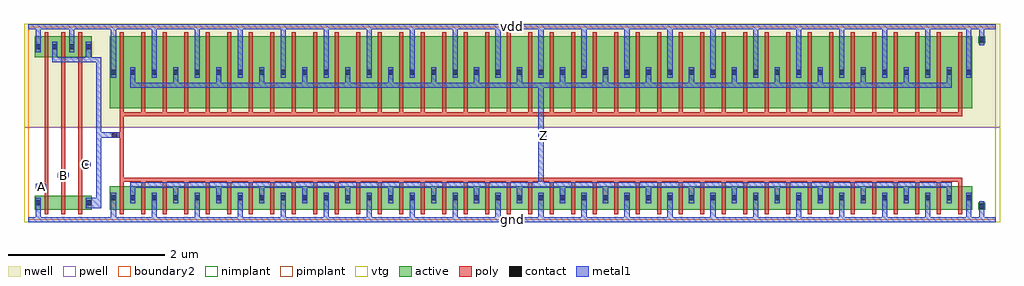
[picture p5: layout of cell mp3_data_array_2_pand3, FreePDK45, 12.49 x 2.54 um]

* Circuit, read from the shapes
.subckt mp3_data_array_2_pand3 A B C Z gnd vdd
M1 mp3_data_array_2_pnand3_0_0/mp3_data_array_2_nmos_m1_w0_180_sm1_dactive_3/D A gnd gnd nfet w=0.18u l=0.05u
M2 mp3_data_array_2_pnand3_0_0/mp3_data_array_2_nmos_m1_w0_180_sactive_dactive_4/D B mp3_data_array_2_pnand3_0_0/mp3_data_array_2_nmos_m1_w0_180_sm1_dactive_3/D gnd nfet w=0.18u l=0.05u
M3 mp3_data_array_2_pdriver_3_1/A C mp3_data_array_2_pnand3_0_0/mp3_data_array_2_nmos_m1_w0_180_sactive_dactive_4/D gnd nfet w=0.18u l=0.05u
M4 Z mp3_data_array_2_pdriver_3_1/A gnd gnd nfet w=0.305u l=0.05u m=40
M5 mp3_data_array_2_pdriver_3_1/A A vdd vdd pfet w=0.27u l=0.05u
M6 vdd B mp3_data_array_2_pdriver_3_1/A vdd pfet w=0.27u l=0.05u
M7 mp3_data_array_2_pdriver_3_1/A C vdd vdd pfet w=0.27u l=0.05u
M8 Z mp3_data_array_2_pdriver_3_1/A vdd vdd pfet w=0.9175u l=0.05u m=40
.ends

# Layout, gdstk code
import gdstk
lib = gdstk.Library(unit=1e-6, precision=5e-10)
def R(c, l, rs):  # rectangles x0, y0, x1, y1
    for r in rs: c.add(gdstk.rectangle(r[:2], r[2:], *l))
def A(c, l, x, y, w, h, nx, ny, dx, dy):  # array of equal rectangles
    R(c, l, [(x+i*dx, y+j*dy, x+i*dx+w, y+j*dy+h) for i in range(nx) for j in range(ny)])
active = (1, 0)
pwell = (2, 0)
nwell = (3, 0)
nimplant = (4, 0)
pimplant = (5, 0)
vtg = (6, 0)
poly = (9, 0)
contact = (10, 0)
metal1 = (11, 0)
boundary2 = (239, 0)

mp3_data_array_2_contact = lib.new_cell('mp3_data_array_2_contact_11')
R(mp3_data_array_2_contact, active, [(0,0.0225,0.09,0.1125)])
R(mp3_data_array_2_contact, nwell, [(-0.055,-0.0325,0.145,0.1675)])
R(mp3_data_array_2_contact, pimplant, [(0,0.0225,0.09,0.1125)])
R(mp3_data_array_2_contact, contact, [(0.0125,0.035,0.0775,0.1)])
R(mp3_data_array_2_contact, metal1, [(0.0125,0,0.0775,0.135)])
R(mp3_data_array_2_contact, boundary2, [(-0.055,-0.0325,0.145,0.1675)])

mp3_data_array_2_pmos_m1 = lib.new_cell('mp3_data_array_2_pmos_m1_w0_270_sm1_dm1')
R(mp3_data_array_2_pmos_m1, active, [(0,0,0.305,0.27)])
R(mp3_data_array_2_pmos_m1, nwell, [(-0.08,-0.08,0.385,0.35)])
R(mp3_data_array_2_pmos_m1, pimplant, [(0,0,0.305,0.27)])
R(mp3_data_array_2_pmos_m1, vtg, [(-0.08,-0.08,0.385,0.35)])
R(mp3_data_array_2_pmos_m1, poly, [(0.1275,-0.055,0.1775,0.325), (0.1275,-0.055,0.1775,0.325)])
R(mp3_data_array_2_pmos_m1, metal1, [(0.0125,0.0675,0.0775,0.2025), (0.2275,0.0675,0.2925,0.2025)])
R(mp3_data_array_2_pmos_m1, boundary2, [(-0.08,-0.08,0.385,0.35)])
mp3_data_array_2_pmos_m1.add(gdstk.Reference(mp3_data_array_2_contact, (0,0.0675)))
mp3_data_array_2_pmos_m1.add(gdstk.Reference(mp3_data_array_2_contact, (0.215,0.0675)))
mp3_data_array_2_pmos_m1.add(gdstk.Label('G', (0.1525,0.135), layer=9, texttype=0))
mp3_data_array_2_pmos_m1.add(gdstk.Label('S', (0.045,0.135), layer=11, texttype=0))
mp3_data_array_2_pmos_m1.add(gdstk.Label('D', (0.26,0.135), layer=11, texttype=0))

c_mp3_data_array_2_contact = lib.new_cell('mp3_data_array_2_contact_10')
R(c_mp3_data_array_2_contact, active, [(0,0.0225,0.09,0.1125)])
R(c_mp3_data_array_2_contact, pwell, [(-0.055,-0.0325,0.145,0.1675)])
R(c_mp3_data_array_2_contact, nimplant, [(0,0.0225,0.09,0.1125)])
R(c_mp3_data_array_2_contact, contact, [(0.0125,0.035,0.0775,0.1)])
R(c_mp3_data_array_2_contact, metal1, [(0.0125,0,0.0775,0.135)])
R(c_mp3_data_array_2_contact, boundary2, [(-0.055,-0.0325,0.145,0.1675)])

mp3_data_array_2_nmos_m1 = lib.new_cell('mp3_data_array_2_nmos_m1_w0_180_sm1_dactive')
R(mp3_data_array_2_nmos_m1, active, [(0,0,0.305,0.18), (0.215,0.045,0.305,0.135)])
R(mp3_data_array_2_nmos_m1, pwell, [(-0.08,-0.08,0.385,0.26)])
R(mp3_data_array_2_nmos_m1, nimplant, [(0,0,0.305,0.18)])
R(mp3_data_array_2_nmos_m1, vtg, [(-0.08,-0.08,0.385,0.26)])
R(mp3_data_array_2_nmos_m1, poly, [(0.1275,-0.055,0.1775,0.235), (0.1275,-0.055,0.1775,0.235)])
R(mp3_data_array_2_nmos_m1, metal1, [(0.0125,0.0225,0.0775,0.1575)])
R(mp3_data_array_2_nmos_m1, boundary2, [(-0.08,-0.08,0.385,0.26)])
mp3_data_array_2_nmos_m1.add(gdstk.Reference(c_mp3_data_array_2_contact, (0,0.0225)))
mp3_data_array_2_nmos_m1.add(gdstk.Label('G', (0.1525,0.09), layer=9, texttype=0))
mp3_data_array_2_nmos_m1.add(gdstk.Label('S', (0.045,0.09), layer=11, texttype=0))
mp3_data_array_2_nmos_m1.add(gdstk.Label('D', (0.26,0.09), layer=1, texttype=0))

c_mp3_data_array_2_nmos_m1 = lib.new_cell('mp3_data_array_2_nmos_m1_w0_180_sactive_dactive')
R(c_mp3_data_array_2_nmos_m1, active, [(0,0,0.305,0.18), (0,0.045,0.09,0.135), (0.215,0.045,0.305,0.135)])
R(c_mp3_data_array_2_nmos_m1, pwell, [(-0.08,-0.08,0.385,0.26)])
R(c_mp3_data_array_2_nmos_m1, nimplant, [(0,0,0.305,0.18)])
R(c_mp3_data_array_2_nmos_m1, vtg, [(-0.08,-0.08,0.385,0.26)])
R(c_mp3_data_array_2_nmos_m1, poly, [(0.1275,-0.055,0.1775,0.235), (0.1275,-0.055,0.1775,0.235)])
R(c_mp3_data_array_2_nmos_m1, boundary2, [(-0.08,-0.08,0.385,0.26)])
c_mp3_data_array_2_nmos_m1.add(gdstk.Label('G', (0.1525,0.09), layer=9, texttype=0))
c_mp3_data_array_2_nmos_m1.add(gdstk.Label('S', (0.045,0.09), layer=1, texttype=0))
c_mp3_data_array_2_nmos_m1.add(gdstk.Label('D', (0.26,0.09), layer=1, texttype=0))

c_mp3_data_array_2_nmos_m1_ = lib.new_cell('mp3_data_array_2_nmos_m1_w0_180_sactive_dm1')
R(c_mp3_data_array_2_nmos_m1_, active, [(0,0,0.305,0.18), (0,0.045,0.09,0.135)])
R(c_mp3_data_array_2_nmos_m1_, pwell, [(-0.08,-0.08,0.385,0.26)])
R(c_mp3_data_array_2_nmos_m1_, nimplant, [(0,0,0.305,0.18)])
R(c_mp3_data_array_2_nmos_m1_, vtg, [(-0.08,-0.08,0.385,0.26)])
R(c_mp3_data_array_2_nmos_m1_, poly, [(0.1275,-0.055,0.1775,0.235), (0.1275,-0.055,0.1775,0.235)])
R(c_mp3_data_array_2_nmos_m1_, metal1, [(0.2275,0.0225,0.2925,0.1575)])
R(c_mp3_data_array_2_nmos_m1_, boundary2, [(-0.08,-0.08,0.385,0.26)])
c_mp3_data_array_2_nmos_m1_.add(gdstk.Reference(c_mp3_data_array_2_contact, (0.215,0.0225)))
c_mp3_data_array_2_nmos_m1_.add(gdstk.Label('G', (0.1525,0.09), layer=9, texttype=0))
c_mp3_data_array_2_nmos_m1_.add(gdstk.Label('S', (0.045,0.09), layer=1, texttype=0))
c_mp3_data_array_2_nmos_m1_.add(gdstk.Label('D', (0.26,0.09), layer=11, texttype=0))

c_mp3_data_array_2_contact_ = lib.new_cell('mp3_data_array_2_contact_14')
R(c_mp3_data_array_2_contact_, poly, [(0.03,0,0.105,0.075)])
R(c_mp3_data_array_2_contact_, contact, [(0.035,0.005,0.1,0.07)])
R(c_mp3_data_array_2_contact_, metal1, [(0,0.005,0.135,0.07)])
R(c_mp3_data_array_2_contact_, boundary2, [(0,0,0.135,0.075)])

mp3_data_array_2_pnand3_ = lib.new_cell('mp3_data_array_2_pnand3_0')
R(mp3_data_array_2_pnand3_, pwell, [(-0.055,-0.0325,1.02,1.185)])
R(mp3_data_array_2_pnand3_, nwell, [(-0.055,1.185,1.02,2.505)])
R(mp3_data_array_2_pnand3_, vtg, [(-0.055,-0.0325,1.02,1.185), (-0.055,1.185,1.02,2.505)])
A(mp3_data_array_2_pnand3_, poly, 0.2075, 0.36, 0.05, 1.66, 3, 1, 0.215, 0)
R(mp3_data_array_2_pnand3_, poly, [(0.165,0.39,0.2075,0.465), (0.4225,0.53,0.4475,0.605), (0.6375,0.67,0.73,0.745)])
R(mp3_data_array_2_pnand3_, metal1, [(0,-0.0325,0.965,0.0325), (0.0925,-0.0325,0.1575,0.1475), (0.77,0.1475,0.9,0.2825), (0.8675,0.1475,0.9325,2.045), (0.0975,0.395,0.2325,0.46), (0.38,0.535,0.515,0.6), (0.6625,0.675,0.7975,0.74), (0.3075,2.0125,0.3725,2.0775), (0.34,2.0125,0.9,2.0775), (0.7375,2.0125,0.8025,2.0775), (0.77,2.0125,0.9,2.0775), (0.8675,2.0125,0.9325,2.0775), (0.3075,2.045,0.3725,2.21), (0.7375,2.045,0.8025,2.21), (0.0925,2.1425,0.1575,2.5025), (0.5225,2.1425,0.5875,2.5025), (0,2.4375,0.965,2.5025)])
R(mp3_data_array_2_pnand3_, boundary2, [(0,0,0.965,2.47), (0,0,0.965,2.47)])
mp3_data_array_2_pnand3_.add(gdstk.Reference(mp3_data_array_2_pmos_m1, (0.08,2.075)))
mp3_data_array_2_pnand3_.add(gdstk.Reference(mp3_data_array_2_pmos_m1, (0.295,2.075)))
mp3_data_array_2_pnand3_.add(gdstk.Reference(mp3_data_array_2_pmos_m1, (0.51,2.075)))
mp3_data_array_2_pnand3_.add(gdstk.Reference(mp3_data_array_2_nmos_m1, (0.08,0.125)))
mp3_data_array_2_pnand3_.add(gdstk.Reference(c_mp3_data_array_2_nmos_m1, (0.295,0.125)))
mp3_data_array_2_pnand3_.add(gdstk.Reference(c_mp3_data_array_2_nmos_m1_, (0.51,0.125)))
mp3_data_array_2_pnand3_.add(gdstk.Reference(c_mp3_data_array_2_contact_, (0.0975,0.39)))
mp3_data_array_2_pnand3_.add(gdstk.Reference(c_mp3_data_array_2_contact_, (0.38,0.53)))
mp3_data_array_2_pnand3_.add(gdstk.Reference(c_mp3_data_array_2_contact_, (0.6625,0.67)))
mp3_data_array_2_pnand3_.add(gdstk.Label('A', (0.165,0.4275), layer=11, texttype=0))
mp3_data_array_2_pnand3_.add(gdstk.Label('B', (0.4475,0.5675), layer=11, texttype=0))
mp3_data_array_2_pnand3_.add(gdstk.Label('C', (0.73,0.7075), layer=11, texttype=0))
mp3_data_array_2_pnand3_.add(gdstk.Label('Z', (0.9,2.045), layer=11, texttype=0))
mp3_data_array_2_pnand3_.add(gdstk.Label('gnd', (0.4825,0), layer=11, texttype=0))
mp3_data_array_2_pnand3_.add(gdstk.Label('vdd', (0.4825,2.47), layer=11, texttype=0))

mp3_data_array_2_pmos_m4 = lib.new_cell('mp3_data_array_2_pmos_m40_w0_917_sm1_dm1_da_p')
R(mp3_data_array_2_pmos_m4, active, [(0,0,11.03,0.9175)])
R(mp3_data_array_2_pmos_m4, nwell, [(-0.08,-0.08,11.11,0.9975)])
R(mp3_data_array_2_pmos_m4, pimplant, [(0,0,11.03,0.9175)])
R(mp3_data_array_2_pmos_m4, vtg, [(-0.08,-0.08,11.11,0.9975)])
A(mp3_data_array_2_pmos_m4, poly, 0.1275, -0.055, 0.05, 1.0275, 40, 1, 0.275, 0)
R(mp3_data_array_2_pmos_m4, poly, [(0.1275,-0.105,10.9025,-0.055)])
A(mp3_data_array_2_pmos_m4, metal1, 0.2575, 0.295, 0.065, 0.165, 20, 1, 0.55, 0)
A(mp3_data_array_2_pmos_m4, metal1, 0.5325, 0.39, 0.065, 0.135, 19, 1, 0.55, 0)
R(mp3_data_array_2_pmos_m4, metal1, [(0.2575,0.26,10.7725,0.325), (0.0125,0.39,0.0775,0.525), (10.9525,0.39,11.0175,0.525)])
R(mp3_data_array_2_pmos_m4, boundary2, [(-0.08,-0.105,11.11,0.9975)])
mp3_data_array_2_pmos_m4.add(gdstk.Reference(mp3_data_array_2_contact, (0,0.39)))
mp3_data_array_2_pmos_m4.add(gdstk.Reference(mp3_data_array_2_contact, (0.245,0.39)))
mp3_data_array_2_pmos_m4.add(gdstk.Reference(mp3_data_array_2_contact, (0.52,0.39)))
mp3_data_array_2_pmos_m4.add(gdstk.Reference(mp3_data_array_2_contact, (0.795,0.39)))
mp3_data_array_2_pmos_m4.add(gdstk.Reference(mp3_data_array_2_contact, (1.07,0.39)))
mp3_data_array_2_pmos_m4.add(gdstk.Reference(mp3_data_array_2_contact, (1.345,0.39)))
mp3_data_array_2_pmos_m4.add(gdstk.Reference(mp3_data_array_2_contact, (1.62,0.39)))
mp3_data_array_2_pmos_m4.add(gdstk.Reference(mp3_data_array_2_contact, (1.895,0.39)))
mp3_data_array_2_pmos_m4.add(gdstk.Reference(mp3_data_array_2_contact, (2.17,0.39)))
mp3_data_array_2_pmos_m4.add(gdstk.Reference(mp3_data_array_2_contact, (2.445,0.39)))
mp3_data_array_2_pmos_m4.add(gdstk.Reference(mp3_data_array_2_contact, (2.72,0.39)))
mp3_data_array_2_pmos_m4.add(gdstk.Reference(mp3_data_array_2_contact, (2.995,0.39)))
mp3_data_array_2_pmos_m4.add(gdstk.Reference(mp3_data_array_2_contact, (3.27,0.39)))
mp3_data_array_2_pmos_m4.add(gdstk.Reference(mp3_data_array_2_contact, (3.545,0.39)))
mp3_data_array_2_pmos_m4.add(gdstk.Reference(mp3_data_array_2_contact, (3.82,0.39)))
mp3_data_array_2_pmos_m4.add(gdstk.Reference(mp3_data_array_2_contact, (4.095,0.39)))
mp3_data_array_2_pmos_m4.add(gdstk.Reference(mp3_data_array_2_contact, (4.37,0.39)))
mp3_data_array_2_pmos_m4.add(gdstk.Reference(mp3_data_array_2_contact, (4.645,0.39)))
mp3_data_array_2_pmos_m4.add(gdstk.Reference(mp3_data_array_2_contact, (4.92,0.39)))
mp3_data_array_2_pmos_m4.add(gdstk.Reference(mp3_data_array_2_contact, (5.195,0.39)))
mp3_data_array_2_pmos_m4.add(gdstk.Reference(mp3_data_array_2_contact, (5.47,0.39)))
mp3_data_array_2_pmos_m4.add(gdstk.Reference(mp3_data_array_2_contact, (5.745,0.39)))
mp3_data_array_2_pmos_m4.add(gdstk.Reference(mp3_data_array_2_contact, (6.02,0.39)))
mp3_data_array_2_pmos_m4.add(gdstk.Reference(mp3_data_array_2_contact, (6.295,0.39)))
mp3_data_array_2_pmos_m4.add(gdstk.Reference(mp3_data_array_2_contact, (6.57,0.39)))
mp3_data_array_2_pmos_m4.add(gdstk.Reference(mp3_data_array_2_contact, (6.845,0.39)))
mp3_data_array_2_pmos_m4.add(gdstk.Reference(mp3_data_array_2_contact, (7.12,0.39)))
mp3_data_array_2_pmos_m4.add(gdstk.Reference(mp3_data_array_2_contact, (7.395,0.39)))
mp3_data_array_2_pmos_m4.add(gdstk.Reference(mp3_data_array_2_contact, (7.67,0.39)))
mp3_data_array_2_pmos_m4.add(gdstk.Reference(mp3_data_array_2_contact, (7.945,0.39)))
mp3_data_array_2_pmos_m4.add(gdstk.Reference(mp3_data_array_2_contact, (8.22,0.39)))
mp3_data_array_2_pmos_m4.add(gdstk.Reference(mp3_data_array_2_contact, (8.495,0.39)))
mp3_data_array_2_pmos_m4.add(gdstk.Reference(mp3_data_array_2_contact, (8.77,0.39)))
mp3_data_array_2_pmos_m4.add(gdstk.Reference(mp3_data_array_2_contact, (9.045,0.39)))
mp3_data_array_2_pmos_m4.add(gdstk.Reference(mp3_data_array_2_contact, (9.32,0.39)))
mp3_data_array_2_pmos_m4.add(gdstk.Reference(mp3_data_array_2_contact, (9.595,0.39)))
mp3_data_array_2_pmos_m4.add(gdstk.Reference(mp3_data_array_2_contact, (9.87,0.39)))
mp3_data_array_2_pmos_m4.add(gdstk.Reference(mp3_data_array_2_contact, (10.145,0.39)))
mp3_data_array_2_pmos_m4.add(gdstk.Reference(mp3_data_array_2_contact, (10.42,0.39)))
mp3_data_array_2_pmos_m4.add(gdstk.Reference(mp3_data_array_2_contact, (10.695,0.39)))
mp3_data_array_2_pmos_m4.add(gdstk.Reference(mp3_data_array_2_contact, (10.94,0.39)))
mp3_data_array_2_pmos_m4.add(gdstk.Label('G', (5.515,-0.08), layer=9, texttype=0))
mp3_data_array_2_pmos_m4.add(gdstk.Label('S', (3.315,0.4575), layer=11, texttype=0))
mp3_data_array_2_pmos_m4.add(gdstk.Label('S', (3.865,0.4575), layer=11, texttype=0))
mp3_data_array_2_pmos_m4.add(gdstk.Label('S', (4.415,0.4575), layer=11, texttype=0))
mp3_data_array_2_pmos_m4.add(gdstk.Label('S', (0.565,0.4575), layer=11, texttype=0))
mp3_data_array_2_pmos_m4.add(gdstk.Label('S', (0.045,0.4575), layer=11, texttype=0))
mp3_data_array_2_pmos_m4.add(gdstk.Label('S', (2.215,0.4575), layer=11, texttype=0))
mp3_data_array_2_pmos_m4.add(gdstk.Label('S', (9.365,0.4575), layer=11, texttype=0))
mp3_data_array_2_pmos_m4.add(gdstk.Label('S', (9.915,0.4575), layer=11, texttype=0))
mp3_data_array_2_pmos_m4.add(gdstk.Label('S', (1.665,0.4575), layer=11, texttype=0))
mp3_data_array_2_pmos_m4.add(gdstk.Label('S', (4.965,0.4575), layer=11, texttype=0))
mp3_data_array_2_pmos_m4.add(gdstk.Label('S', (6.065,0.4575), layer=11, texttype=0))
mp3_data_array_2_pmos_m4.add(gdstk.Label('S', (8.265,0.4575), layer=11, texttype=0))
mp3_data_array_2_pmos_m4.add(gdstk.Label('S', (5.515,0.4575), layer=11, texttype=0))
mp3_data_array_2_pmos_m4.add(gdstk.Label('S', (1.115,0.4575), layer=11, texttype=0))
mp3_data_array_2_pmos_m4.add(gdstk.Label('S', (10.985,0.4575), layer=11, texttype=0))
mp3_data_array_2_pmos_m4.add(gdstk.Label('S', (8.815,0.4575), layer=11, texttype=0))
mp3_data_array_2_pmos_m4.add(gdstk.Label('S', (2.765,0.4575), layer=11, texttype=0))
mp3_data_array_2_pmos_m4.add(gdstk.Label('S', (10.465,0.4575), layer=11, texttype=0))
mp3_data_array_2_pmos_m4.add(gdstk.Label('S', (7.165,0.4575), layer=11, texttype=0))
mp3_data_array_2_pmos_m4.add(gdstk.Label('S', (6.615,0.4575), layer=11, texttype=0))
mp3_data_array_2_pmos_m4.add(gdstk.Label('S', (7.715,0.4575), layer=11, texttype=0))
mp3_data_array_2_pmos_m4.add(gdstk.Label('D', (5.515,0.2925), layer=11, texttype=0))

mp3_data_array_2_nmos_m4 = lib.new_cell('mp3_data_array_2_nmos_m40_w0_305_sm1_dm1_da_p')
R(mp3_data_array_2_nmos_m4, active, [(0,0,11.03,0.305)])
R(mp3_data_array_2_nmos_m4, pwell, [(-0.08,-0.08,11.11,0.385)])
R(mp3_data_array_2_nmos_m4, nimplant, [(0,0,11.03,0.305)])
R(mp3_data_array_2_nmos_m4, vtg, [(-0.08,-0.08,11.11,0.385)])
A(mp3_data_array_2_nmos_m4, poly, 0.1275, -0.055, 0.05, 0.415, 40, 1, 0.275, 0)
R(mp3_data_array_2_nmos_m4, poly, [(0.1275,0.36,10.9025,0.41)])
A(mp3_data_array_2_nmos_m4, metal1, 0.5325, 0.085, 0.065, 0.135, 19, 1, 0.55, 0)
A(mp3_data_array_2_nmos_m4, metal1, 0.2575, 0.1525, 0.065, 0.165, 20, 1, 0.55, 0)
R(mp3_data_array_2_nmos_m4, metal1, [(0.0125,0.085,0.0775,0.22), (10.9525,0.085,11.0175,0.22), (0.2575,0.285,10.7725,0.35)])
R(mp3_data_array_2_nmos_m4, boundary2, [(-0.08,-0.08,11.11,0.41)])
mp3_data_array_2_nmos_m4.add(gdstk.Reference(c_mp3_data_array_2_contact, (0,0.085)))
mp3_data_array_2_nmos_m4.add(gdstk.Reference(c_mp3_data_array_2_contact, (0.245,0.085)))
mp3_data_array_2_nmos_m4.add(gdstk.Reference(c_mp3_data_array_2_contact, (0.52,0.085)))
mp3_data_array_2_nmos_m4.add(gdstk.Reference(c_mp3_data_array_2_contact, (0.795,0.085)))
mp3_data_array_2_nmos_m4.add(gdstk.Reference(c_mp3_data_array_2_contact, (1.07,0.085)))
mp3_data_array_2_nmos_m4.add(gdstk.Reference(c_mp3_data_array_2_contact, (1.345,0.085)))
mp3_data_array_2_nmos_m4.add(gdstk.Reference(c_mp3_data_array_2_contact, (1.62,0.085)))
mp3_data_array_2_nmos_m4.add(gdstk.Reference(c_mp3_data_array_2_contact, (1.895,0.085)))
mp3_data_array_2_nmos_m4.add(gdstk.Reference(c_mp3_data_array_2_contact, (2.17,0.085)))
mp3_data_array_2_nmos_m4.add(gdstk.Reference(c_mp3_data_array_2_contact, (2.445,0.085)))
mp3_data_array_2_nmos_m4.add(gdstk.Reference(c_mp3_data_array_2_contact, (2.72,0.085)))
mp3_data_array_2_nmos_m4.add(gdstk.Reference(c_mp3_data_array_2_contact, (2.995,0.085)))
mp3_data_array_2_nmos_m4.add(gdstk.Reference(c_mp3_data_array_2_contact, (3.27,0.085)))
mp3_data_array_2_nmos_m4.add(gdstk.Reference(c_mp3_data_array_2_contact, (3.545,0.085)))
mp3_data_array_2_nmos_m4.add(gdstk.Reference(c_mp3_data_array_2_contact, (3.82,0.085)))
mp3_data_array_2_nmos_m4.add(gdstk.Reference(c_mp3_data_array_2_contact, (4.095,0.085)))
mp3_data_array_2_nmos_m4.add(gdstk.Reference(c_mp3_data_array_2_contact, (4.37,0.085)))
mp3_data_array_2_nmos_m4.add(gdstk.Reference(c_mp3_data_array_2_contact, (4.645,0.085)))
mp3_data_array_2_nmos_m4.add(gdstk.Reference(c_mp3_data_array_2_contact, (4.92,0.085)))
mp3_data_array_2_nmos_m4.add(gdstk.Reference(c_mp3_data_array_2_contact, (5.195,0.085)))
mp3_data_array_2_nmos_m4.add(gdstk.Reference(c_mp3_data_array_2_contact, (5.47,0.085)))
mp3_data_array_2_nmos_m4.add(gdstk.Reference(c_mp3_data_array_2_contact, (5.745,0.085)))
mp3_data_array_2_nmos_m4.add(gdstk.Reference(c_mp3_data_array_2_contact, (6.02,0.085)))
mp3_data_array_2_nmos_m4.add(gdstk.Reference(c_mp3_data_array_2_contact, (6.295,0.085)))
mp3_data_array_2_nmos_m4.add(gdstk.Reference(c_mp3_data_array_2_contact, (6.57,0.085)))
mp3_data_array_2_nmos_m4.add(gdstk.Reference(c_mp3_data_array_2_contact, (6.845,0.085)))
mp3_data_array_2_nmos_m4.add(gdstk.Reference(c_mp3_data_array_2_contact, (7.12,0.085)))
mp3_data_array_2_nmos_m4.add(gdstk.Reference(c_mp3_data_array_2_contact, (7.395,0.085)))
mp3_data_array_2_nmos_m4.add(gdstk.Reference(c_mp3_data_array_2_contact, (7.67,0.085)))
mp3_data_array_2_nmos_m4.add(gdstk.Reference(c_mp3_data_array_2_contact, (7.945,0.085)))
mp3_data_array_2_nmos_m4.add(gdstk.Reference(c_mp3_data_array_2_contact, (8.22,0.085)))
mp3_data_array_2_nmos_m4.add(gdstk.Reference(c_mp3_data_array_2_contact, (8.495,0.085)))
mp3_data_array_2_nmos_m4.add(gdstk.Reference(c_mp3_data_array_2_contact, (8.77,0.085)))
mp3_data_array_2_nmos_m4.add(gdstk.Reference(c_mp3_data_array_2_contact, (9.045,0.085)))
mp3_data_array_2_nmos_m4.add(gdstk.Reference(c_mp3_data_array_2_contact, (9.32,0.085)))
mp3_data_array_2_nmos_m4.add(gdstk.Reference(c_mp3_data_array_2_contact, (9.595,0.085)))
mp3_data_array_2_nmos_m4.add(gdstk.Reference(c_mp3_data_array_2_contact, (9.87,0.085)))
mp3_data_array_2_nmos_m4.add(gdstk.Reference(c_mp3_data_array_2_contact, (10.145,0.085)))
mp3_data_array_2_nmos_m4.add(gdstk.Reference(c_mp3_data_array_2_contact, (10.42,0.085)))
mp3_data_array_2_nmos_m4.add(gdstk.Reference(c_mp3_data_array_2_contact, (10.695,0.085)))
mp3_data_array_2_nmos_m4.add(gdstk.Reference(c_mp3_data_array_2_contact, (10.94,0.085)))
mp3_data_array_2_nmos_m4.add(gdstk.Label('G', (5.515,0.385), layer=9, texttype=0))
mp3_data_array_2_nmos_m4.add(gdstk.Label('S', (10.985,0.1525), layer=11, texttype=0))
mp3_data_array_2_nmos_m4.add(gdstk.Label('S', (2.765,0.1525), layer=11, texttype=0))
mp3_data_array_2_nmos_m4.add(gdstk.Label('S', (1.665,0.1525), layer=11, texttype=0))
mp3_data_array_2_nmos_m4.add(gdstk.Label('S', (9.365,0.1525), layer=11, texttype=0))
mp3_data_array_2_nmos_m4.add(gdstk.Label('S', (7.165,0.1525), layer=11, texttype=0))
mp3_data_array_2_nmos_m4.add(gdstk.Label('S', (5.515,0.1525), layer=11, texttype=0))
mp3_data_array_2_nmos_m4.add(gdstk.Label('S', (7.715,0.1525), layer=11, texttype=0))
mp3_data_array_2_nmos_m4.add(gdstk.Label('S', (8.815,0.1525), layer=11, texttype=0))
mp3_data_array_2_nmos_m4.add(gdstk.Label('S', (0.045,0.1525), layer=11, texttype=0))
mp3_data_array_2_nmos_m4.add(gdstk.Label('S', (1.115,0.1525), layer=11, texttype=0))
mp3_data_array_2_nmos_m4.add(gdstk.Label('S', (6.615,0.1525), layer=11, texttype=0))
mp3_data_array_2_nmos_m4.add(gdstk.Label('S', (0.565,0.1525), layer=11, texttype=0))
mp3_data_array_2_nmos_m4.add(gdstk.Label('S', (8.265,0.1525), layer=11, texttype=0))
mp3_data_array_2_nmos_m4.add(gdstk.Label('S', (9.915,0.1525), layer=11, texttype=0))
mp3_data_array_2_nmos_m4.add(gdstk.Label('S', (2.215,0.1525), layer=11, texttype=0))
mp3_data_array_2_nmos_m4.add(gdstk.Label('S', (3.315,0.1525), layer=11, texttype=0))
mp3_data_array_2_nmos_m4.add(gdstk.Label('S', (6.065,0.1525), layer=11, texttype=0))
mp3_data_array_2_nmos_m4.add(gdstk.Label('S', (4.965,0.1525), layer=11, texttype=0))
mp3_data_array_2_nmos_m4.add(gdstk.Label('S', (4.415,0.1525), layer=11, texttype=0))
mp3_data_array_2_nmos_m4.add(gdstk.Label('S', (3.865,0.1525), layer=11, texttype=0))
mp3_data_array_2_nmos_m4.add(gdstk.Label('S', (10.465,0.1525), layer=11, texttype=0))
mp3_data_array_2_nmos_m4.add(gdstk.Label('D', (5.515,0.3175), layer=11, texttype=0))

c_mp3_data_array_2_contact__ = lib.new_cell('mp3_data_array_2_contact_12')
R(c_mp3_data_array_2_contact__, active, [(0,0.0225,0.09,0.1125)])
R(c_mp3_data_array_2_contact__, nwell, [(-0.055,-0.0325,0.145,0.1675)])
R(c_mp3_data_array_2_contact__, nimplant, [(0,0.0225,0.09,0.1125)])
R(c_mp3_data_array_2_contact__, contact, [(0.0125,0.035,0.0775,0.1)])
R(c_mp3_data_array_2_contact__, metal1, [(0.0125,0,0.0775,0.135)])
R(c_mp3_data_array_2_contact__, boundary2, [(-0.055,-0.0325,0.145,0.1675)])

c_mp3_data_array_2_contact___ = lib.new_cell('mp3_data_array_2_contact_13')
R(c_mp3_data_array_2_contact___, active, [(0,0.0225,0.09,0.1125)])
R(c_mp3_data_array_2_contact___, pwell, [(-0.055,-0.0325,0.145,0.1675)])
R(c_mp3_data_array_2_contact___, pimplant, [(0,0.0225,0.09,0.1125)])
R(c_mp3_data_array_2_contact___, contact, [(0.0125,0.035,0.0775,0.1)])
R(c_mp3_data_array_2_contact___, metal1, [(0.0125,0,0.0775,0.135)])
R(c_mp3_data_array_2_contact___, boundary2, [(-0.055,-0.0325,0.145,0.1675)])

mp3_data_array_2_pinv_14 = lib.new_cell('mp3_data_array_2_pinv_14')
R(mp3_data_array_2_pinv_14, pwell, [(-0.055,-0.0325,11.4675,1.185)])
R(mp3_data_array_2_pinv_14, nwell, [(-0.055,1.185,11.4675,2.505)])
R(mp3_data_array_2_pinv_14, vtg, [(-0.055,-0.0325,11.4675,1.185), (-0.055,1.185,11.4675,2.505)])
R(mp3_data_array_2_pinv_14, poly, [(0.2075,0.535,0.2575,1.3225), (0.14,1.045,0.2075,1.12)])
A(mp3_data_array_2_pinv_14, metal1, 0.6125, -0.0325, 0.065, 0.2425, 19, 1, 0.55, 0)
A(mp3_data_array_2_pinv_14, metal1, 0.6125, 1.8175, 0.065, 0.685, 19, 1, 0.55, 0)
R(mp3_data_array_2_pinv_14, metal1, [(0,-0.0325,11.4125,0.0325), (0.0925,-0.0325,0.1575,0.21), (11.0325,-0.0325,11.0975,0.21), (11.2025,0,11.2675,0.17), (5.5625,0.41,5.6275,1.7525), (0.0725,1.05,0.2075,1.115), (5.595,1.05,5.66,1.115), (0.0925,1.8175,0.1575,2.5025), (11.0325,1.8175,11.0975,2.5025), (11.2025,2.3,11.2675,2.47), (0,2.4375,11.4125,2.5025)])
R(mp3_data_array_2_pinv_14, boundary2, [(0,0,11.4125,2.47), (0,0,11.4125,2.47)])
mp3_data_array_2_pinv_14.add(gdstk.Reference(mp3_data_array_2_pmos_m4, (0.08,1.4275)))
mp3_data_array_2_pinv_14.add(gdstk.Reference(mp3_data_array_2_nmos_m4, (0.08,0.125)))
mp3_data_array_2_pinv_14.add(gdstk.Reference(c_mp3_data_array_2_contact__, (11.19,2.2325)))
mp3_data_array_2_pinv_14.add(gdstk.Reference(c_mp3_data_array_2_contact___, (11.19,0.1025)))
mp3_data_array_2_pinv_14.add(gdstk.Reference(c_mp3_data_array_2_contact_, (0.0725,1.045)))
mp3_data_array_2_pinv_14.add(gdstk.Label('A', (0.14,1.0825), layer=11, texttype=0))
mp3_data_array_2_pinv_14.add(gdstk.Label('Z', (5.6275,1.0825), layer=11, texttype=0))
mp3_data_array_2_pinv_14.add(gdstk.Label('gnd', (5.706,0), layer=11, texttype=0))
mp3_data_array_2_pinv_14.add(gdstk.Label('vdd', (5.706,2.47), layer=11, texttype=0))

mp3_data_array_2_pdriver = lib.new_cell('mp3_data_array_2_pdriver_3')
R(mp3_data_array_2_pdriver, pwell, [(-0.055,-0.0325,11.4675,1.185)])
R(mp3_data_array_2_pdriver, nwell, [(-0.055,1.185,11.4675,2.505)])
R(mp3_data_array_2_pdriver, vtg, [(-0.055,-0.0325,11.4675,1.185), (-0.055,1.185,11.4675,2.505)])
R(mp3_data_array_2_pdriver, metal1, [(0,-0.0325,11.4125,0.0325), (0.0725,1.05,0.2075,1.115), (5.595,1.05,5.66,1.115), (0,2.4375,11.4125,2.5025)])
R(mp3_data_array_2_pdriver, boundary2, [(0,0,11.4125,2.47), (0,0,11.4125,2.47)])
mp3_data_array_2_pdriver.add(gdstk.Reference(mp3_data_array_2_pinv_14, (0,0)))
mp3_data_array_2_pdriver.add(gdstk.Label('Z', (5.6275,1.0825), layer=11, texttype=0))
mp3_data_array_2_pdriver.add(gdstk.Label('A', (0.14,1.0825), layer=11, texttype=0))
mp3_data_array_2_pdriver.add(gdstk.Label('gnd', (5.706,0), layer=11, texttype=0))
mp3_data_array_2_pdriver.add(gdstk.Label('vdd', (5.706,2.47), layer=11, texttype=0))

mp3_data_array_2_pand3 = lib.new_cell('mp3_data_array_2_pand3')
R(mp3_data_array_2_pand3, metal1, [(0,-0.0325,12.3775,0.0325), (0.0975,0.395,0.2325,0.46), (0.38,0.535,0.515,0.6), (0.6625,0.675,0.7975,0.74), (0.8675,1.05,0.9325,1.115), (0.9,1.05,1.105,1.115), (6.56,1.05,6.625,1.115), (0.8675,1.0825,0.9325,2.045), (0,2.4375,12.3775,2.5025)])
R(mp3_data_array_2_pand3, boundary2, [(0,0,12.3775,2.47), (0,0,12.3775,2.47)])
mp3_data_array_2_pand3.add(gdstk.Reference(mp3_data_array_2_pnand3_, (0,0)))
mp3_data_array_2_pand3.add(gdstk.Reference(mp3_data_array_2_pdriver, (0.965,0)))
mp3_data_array_2_pand3.add(gdstk.Label('Z', (6.5925,1.0825), layer=11, texttype=0))
mp3_data_array_2_pand3.add(gdstk.Label('A', (0.165,0.4275), layer=11, texttype=0))
mp3_data_array_2_pand3.add(gdstk.Label('B', (0.4475,0.5675), layer=11, texttype=0))
mp3_data_array_2_pand3.add(gdstk.Label('C', (0.73,0.7075), layer=11, texttype=0))
mp3_data_array_2_pand3.add(gdstk.Label('gnd', (6.189,0), layer=11, texttype=0))
mp3_data_array_2_pand3.add(gdstk.Label('vdd', (6.189,2.47), layer=11, texttype=0))

lib.write_gds('mp3_data_array_2_pand3.gds')
